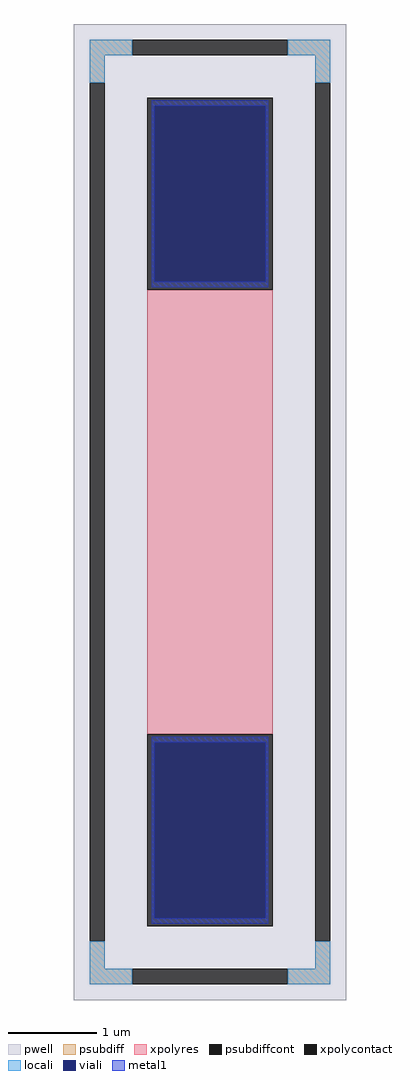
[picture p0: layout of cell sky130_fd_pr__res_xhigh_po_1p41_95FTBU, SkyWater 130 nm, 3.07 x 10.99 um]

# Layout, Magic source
magic
tech sky130A
magscale 1 2
<< pwell >>
rect -307 -1099 307 1099
<< psubdiff >>
rect -271 1029 -175 1063
rect 175 1029 271 1063
rect -271 967 -237 1029
rect 237 967 271 1029
rect -271 -1029 -237 -967
rect 237 -1029 271 -967
rect -271 -1063 -175 -1029
rect 175 -1063 271 -1029
<< psubdiffcont >>
rect -175 1029 175 1063
rect -271 -967 -237 967
rect 237 -967 271 967
rect -175 -1063 175 -1029
<< xpolycontact >>
rect -141 501 141 933
rect -141 -933 141 -501
<< xpolyres >>
rect -141 -501 141 501
<< locali >>
rect -271 1029 -175 1063
rect 175 1029 271 1063
rect -271 967 -237 1029
rect 237 967 271 1029
rect -271 -1029 -237 -967
rect 237 -1029 271 -967
rect -271 -1063 -175 -1029
rect 175 -1063 271 -1029
<< viali >>
rect -125 518 125 915
rect -125 -915 125 -518
<< metal1 >>
rect -131 915 131 927
rect -131 518 -125 915
rect 125 518 131 915
rect -131 506 131 518
rect -131 -518 131 -506
rect -131 -915 -125 -518
rect 125 -915 131 -518
rect -131 -927 131 -915
<< properties >>
string FIXED_BBOX -254 -1046 254 1046
string gencell sky130_fd_pr__res_xhigh_po_1p41
string library sky130
string parameters w 1.410 l 5.167 m 1 nx 1 wmin 1.410 lmin 0.50 rho 2000 val 7.596k dummy 0 dw 0.0 term 188.2 sterm 0.0 caplen 0 wmax 1.410 guard 1 glc 1 grc 1 gtc 1 gbc 1 compatible {sky130_fd_pr__res_xhigh_po_0p35  sky130_fd_pr__res_xhigh_po_0p69 sky130_fd_pr__res_xhigh_po_1p41  sky130_fd_pr__res_xhigh_po_2p85 sky130_fd_pr__res_xhigh_po_5p73} snake 0 full_metal 1 n_guard 0 hv_guard 0 vias 1 viagb 0 viagt 0 viagl 0 viagr 0
<< end >>
